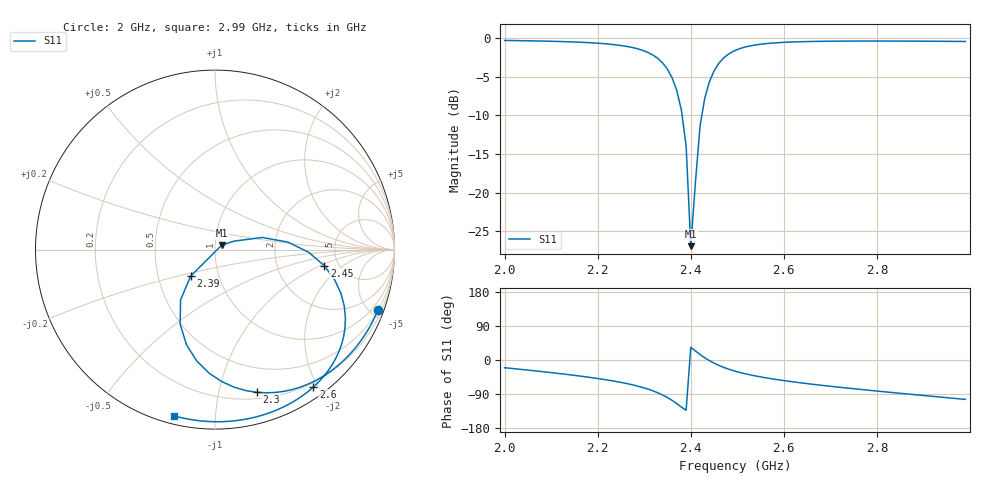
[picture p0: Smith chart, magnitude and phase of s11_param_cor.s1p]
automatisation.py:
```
input_file_db = "s11_param_db.s1p"
input_file_phase = "s11_param_phase.s1p"
output_file = "s11_param_cor.s1p"

with open(input_file_db, "r") as infile_db, open(input_file_phase, "r") as infile_phase, open(output_file, "w") as outfile:
    for line_db, line_phase in zip(infile_db, infile_phase):
        # Ignore les lignes de commentaires
        if line_db.startswith("!") or line_db.startswith("#"):
            outfile.write(line_db)
            
        else:
            values_db = line_db.split()
            values_phase = line_phase.split()
            freq_ghz = float(values_db[0]) / 1e9  # Conversion de Hz à GHz
            magnitude = float(values_db[1])
            phase = float(values_phase[1])
            outfile.write(f"{freq_ghz:.6f}\t{magnitude:.6e}\t{phase:.6}\n")
```
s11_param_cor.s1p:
! Fichier Touchstone S11
# GHz S DB R 50
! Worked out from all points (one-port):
!   100 points, 2 GHz to 2.99 GHz, reference 50 ohm
!   lowest |S11| = -27.0 dB at 2.4 GHz (marker M1), VSWR 1.09, Z = 53.8 + j2.67 ohm
!   |S11| at or under -10 dB: 2.381 GHz to 2.424 GHz (42.4 MHz wide, 1.76 % of centre)
!   S11 on the Smith chart (normalised r, x): 2 GHz: 0.51, -5.50; 2.3 GHz: 0.26, -1.30; 2.39 GHz: 0.73, -0.23; 2.45 GHz: 3.86, -1.11; 2.6 GHz: 0.14, -1.94; 2.99 GHz: 0.04, -0.78
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2  -0.28 -20.4
2.18  -0.56 -45.3
2.3  -1.64 -73.7
2.33  -2.65 -87.0
2.37  -6.79 -115.1
2.39  -13.96 -132.6
2.4  -26.96 33.5
2.42  -11.34 14.5
2.45  -4.22 -8.3
2.5  -1.46 -31.1
2.6  -0.52 -54.3
2.66  -0.41 -63.8
2.81  -0.35 -83.1
2.99  -0.41 -104.0
